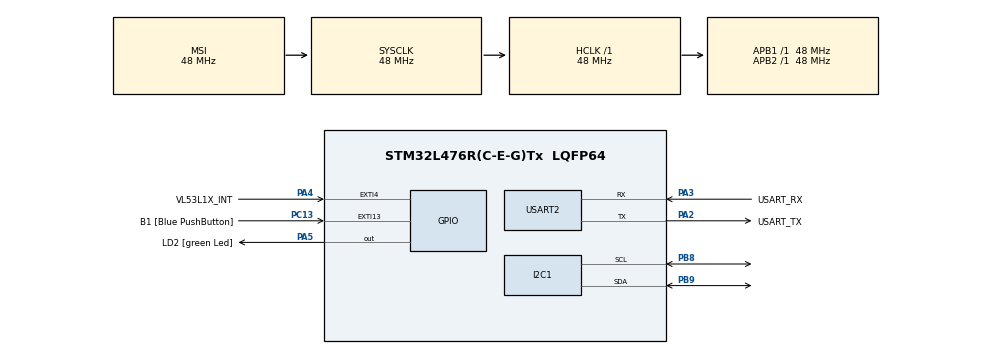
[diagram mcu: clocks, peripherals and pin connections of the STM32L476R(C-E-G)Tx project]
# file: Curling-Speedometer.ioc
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I2C1.Timing=0x20303E5D
Mcu.Family=STM32L4
Mcu.Name=STM32L476R(C-E-G)Tx
Mcu.Package=LQFP64
NVIC.EXTI4_IRQn=true\:0\:0\:false\:false\:true\:true
NVIC.PriorityGroup=NVIC_PRIORITYGROUP_4
PA13\ (JTMS-SWDIO).GPIO_Label=TMS
PA13\ (JTMS-SWDIO).Mode=Serial_Wire
PA13\ (JTMS-SWDIO).Signal=SYS_JTMS-SWDIO
PA14\ (JTCK-SWCLK).GPIO_Label=TCK
PA14\ (JTCK-SWCLK).Mode=Serial_Wire
PA14\ (JTCK-SWCLK).Signal=SYS_JTCK-SWCLK
PA2.GPIO_Label=USART_TX
PA2.GPIO_Mode=GPIO_MODE_AF_PP
PA2.GPIO_PuPd=GPIO_NOPULL
PA2.GPIO_Speed=GPIO_SPEED_FREQ_VERY_HIGH
PA2.Mode=Asynchronous
PA2.Signal=USART2_TX
PA3.GPIO_Label=USART_RX
PA3.GPIO_Mode=GPIO_MODE_AF_PP
PA3.GPIO_PuPd=GPIO_NOPULL
PA3.GPIO_Speed=GPIO_SPEED_FREQ_VERY_HIGH
PA3.Mode=Asynchronous
PA3.Signal=USART2_RX
PA4.GPIO_Label=VL53L1X_INT
PA4.GPIO_ModeDefaultEXTI=GPIO_MODE_IT_RISING_FALLING
PA4.GPIO_PuPd=GPIO_PULLUP
PA4.Signal=GPXTI4
PA5.GPIO_Label=LD2 [green Led]
PA5.GPIO_ModeDefaultOutputPP=GPIO_MODE_OUTPUT_PP
PA5.GPIO_PuPd=GPIO_NOPULL
PA5.GPIO_Speed=GPIO_SPEED_FREQ_LOW
PA5.Signal=GPIO_Output
PB3\ (JTDO-TRACESWO).GPIO_Label=SWO
PB3\ (JTDO-TRACESWO).Signal=SYS_JTDO-SWO
PB8.Mode=I2C
PB8.Signal=I2C1_SCL
PB9.Mode=I2C
PB9.Signal=I2C1_SDA
PC13.GPIO_Label=B1 [Blue PushButton]
PC13.GPIO_ModeDefaultEXTI=GPIO_MODE_IT_FALLING
PC13.GPIO_PuPd=GPIO_NOPULL
PC13.Signal=GPXTI13
PC14-OSC32_IN\ (PC14).Signal=RCC_OSC32_IN
PC15-OSC32_OUT\ (PC15).Signal=RCC_OSC32_OUT
PH0-OSC_IN\ (PH0).Mode=HSE-External-Clock-Source
PH0-OSC_IN\ (PH0).Signal=RCC_OSC_IN
PH1-OSC_OUT\ (PH1).Signal=RCC_OSC_OUT
ProjectManager.HeapSize=0x200
ProjectManager.StackSize=0x400
ProjectManager.TargetToolchain=SW4STM32
RCC.ADCFreq_Value=192000000
RCC.AHBFreq_Value=48000000
RCC.APB1Freq_Value=48000000
RCC.APB1TimFreq_Value=48000000
RCC.APB2Freq_Value=48000000
RCC.APB2TimFreq_Value=48000000
RCC.CortexFreq_Value=48000000
RCC.HCLKFreq_Value=48000000
RCC.HSE_VALUE=8000000
RCC.HSI_VALUE=16000000
RCC.I2C1CLockSelection=RCC_I2C1CLKSOURCE_SYSCLK
RCC.LSE_VALUE=48000
RCC.MSIClockRange=RCC_MSIRANGE_11
RCC.MSI_VALUE=48000000
RCC.PLLN=16
RCC.PREFETCH_ENABLE=1
RCC.PWR_Regulator_Voltage_Scale=PWR_REGULATOR_VOLTAGE_SCALE1
RCC.SYSCLKFreq_VALUE=48000000
RCC.USBFreq_Value=192000000
RCC.VCOOutputFreq_Value=768000000
USART2.VirtualMode-Asynchronous=VM_ASYNC
USART2.WordLength=WORDLENGTH_8B
board=NUCLEO-L476RG

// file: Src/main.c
/**
  ******************************************************************************
  * @file           : main.c
  * @brief          : Main program body
  ******************************************************************************
  ** This notice applies to any and all portions of this file
  * that are not between comment pairs USER CODE BEGIN and
  * USER CODE END. Other portions of this file, whether
  * inserted by the user or by software development tools
  * are owned by their respective copyright owners.
  *
  * COPYRIGHT(c) 2018 STMicroelectronics
  *
  * Redistribution and use in source and binary forms, with or without modification,
  * are permitted provided that the following conditions are met:
  *   1. Redistributions of source code must retain the above copyright notice,
  *      this list of conditions and the following disclaimer.
  *   2. Redistributions in binary form must reproduce the above copyright notice,
  *      this list of conditions and the following disclaimer in the documentation
  *      and/or other materials provided with the distribution.
  *   3. Neither the name of STMicroelectronics nor the names of its contributors
  *      may be used to endorse or promote products derived from this software
  *      without specific prior written permission.
  *
  * THIS SOFTWARE IS PROVIDED BY THE COPYRIGHT HOLDERS AND CONTRIBUTORS "AS IS"
  * AND ANY EXPRESS OR IMPLIED WARRANTIES, INCLUDING, BUT NOT LIMITED TO, THE
  * IMPLIED WARRANTIES OF MERCHANTABILITY AND FITNESS FOR A PARTICULAR PURPOSE ARE
  * DISCLAIMED. IN NO EVENT SHALL THE COPYRIGHT HOLDER OR CONTRIBUTORS BE LIABLE
  * FOR ANY DIRECT, INDIRECT, INCIDENTAL, SPECIAL, EXEMPLARY, OR CONSEQUENTIAL
  * DAMAGES (INCLUDING, BUT NOT LIMITED TO, PROCUREMENT OF SUBSTITUTE GOODS OR
  * SERVICES; LOSS OF USE, DATA, OR PROFITS; OR BUSINESS INTERRUPTION) HOWEVER
  * CAUSED AND ON ANY THEORY OF LIABILITY, WHETHER IN CONTRACT, STRICT LIABILITY,
  * OR TORT (INCLUDING NEGLIGENCE OR OTHERWISE) ARISING IN ANY WAY OUT OF THE USE
  * OF THIS SOFTWARE, EVEN IF ADVISED OF THE POSSIBILITY OF SUCH DAMAGE.
  *
  ******************************************************************************
  */
#include "main.h"
#include "stm32l4xx_hal.h"
#include "i2c.h"
#include "usart.h"
#include "gpio.h"

/* USER CODE BEGIN Includes */
#include "vl53l1_api.h"
#include "vl53l1_platform_init.h"
#include "X-NUCLEO-53L1A1.h"

/* USER CODE END Includes */

/* USER CODE BEGIN PV */
/* Private variables ---------------------------------------------------------*/
VL53L1_Dev_t                   dev;
VL53L1_DEV                     Dev = &dev;
int status;
volatile int IntCount;
#define isAutonomousExample 1  /* Allow to select either autonomous ranging or fast ranging example */
#define isInterrupt 0 /* If isInterrupt = 1 then device working in interrupt mode, else device working in polling mode */
asm (".global _printf_float");
/* USER CODE END PV */

void SystemClock_Config(void);

/* USER CODE BEGIN PFP */
/* Private function prototypes -----------------------------------------------*/
void AutonomousLowPowerRangingTest(void);
/* USER CODE END PFP */

/* USER CODE BEGIN 0 */
int _write(int file, char *ptr, int len)
{
    HAL_UART_Transmit(&huart2, (uint8_t*)ptr, len, 0xFFFF);
    return len;
}

void HAL_GPIO_EXTI_Callback(uint16_t GPIO_Pin)
{
		if (GPIO_Pin==VL53L1X_INT_Pin)
		{
			IntCount++;
		}
}

/* USER CODE END 0 */

int main(void)
{
  /* USER CODE BEGIN 1 */
  uint8_t byteData;
  uint16_t wordData;
  uint8_t ToFSensor = 1; // 0=Left, 1=Center(default), 2=Right

  /* USER CODE END 1 */

  /* MCU Configuration----------------------------------------------------------*/

  /* Reset of all peripherals, Initializes the Flash interface and the Systick. */
  HAL_Init();

  /* Configure the system clock */
  SystemClock_Config();

  /* Initialize all configured peripherals */
  MX_GPIO_Init();
  MX_I2C1_Init();
  /* USER CODE BEGIN 2 */
  XNUCLEO53L1A1_Init();
    MX_USART2_UART_Init();

  printf("VL53L1X Examples...\n");
  Dev->I2cHandle = &hi2c1;
  Dev->I2cDevAddr = 0x52;

  /* Allow to select the sensor to be used, multi-sensor is not managed in this example.
    Only when use use the Left ToF in interrupt mode,  solder the U7 on the X-Nucleo-53L1A1 board
    Only when use the Right ToF in interrupt mode, solder the U7 on the X-Nucleo-53L1A1 board
    See "Solder drop configurations" in the X-Nucleo-53L1A1 User Manual for more details */
  ToFSensor = 1; // Select ToFSensor: 0=Left, 1=Center, 2=Right
  status = XNUCLEO53L1A1_ResetId(ToFSensor, 0); // Reset ToF sensor
  HAL_Delay(2);
  status = XNUCLEO53L1A1_ResetId(ToFSensor, 1); // Reset ToF sensor
  HAL_Delay(2);

  VL53L1_RdByte(Dev, 0x010F, &byteData);
  printf("VL53L1X Model_ID: %02X\n\r", byteData);
  VL53L1_RdByte(Dev, 0x0110, &byteData);
  printf("VL53L1X Module_Type: %02X\n\r", byteData);
  VL53L1_RdWord(Dev, 0x010F, &wordData);
  printf("VL53L1X: %02X\n\r", wordData);
  AutonomousLowPowerRangingTest();

  /* USER CODE END 2 */

  /* Infinite loop */
  while (1)
  {

  }

}

void SystemClock_Config(void)
{

  RCC_OscInitTypeDef RCC_OscInitStruct;
  RCC_ClkInitTypeDef RCC_ClkInitStruct;
  RCC_PeriphCLKInitTypeDef PeriphClkInit;

    /**Initializes the CPU, AHB and APB busses clocks
    */
  RCC_OscInitStruct.OscillatorType = RCC_OSCILLATORTYPE_MSI;
  RCC_OscInitStruct.MSIState = RCC_MSI_ON;
  RCC_OscInitStruct.MSICalibrationValue = 0;
  RCC_OscInitStruct.MSIClockRange = RCC_MSIRANGE_11;
  RCC_OscInitStruct.PLL.PLLState = RCC_PLL_NONE;
  if (HAL_RCC_OscConfig(&RCC_OscInitStruct) != HAL_OK)
  {
    _Error_Handler(__FILE__, __LINE__);
  }

    /**Initializes the CPU, AHB and APB busses clocks
    */
  RCC_ClkInitStruct.ClockType = RCC_CLOCKTYPE_HCLK|RCC_CLOCKTYPE_SYSCLK
                              |RCC_CLOCKTYPE_PCLK1|RCC_CLOCKTYPE_PCLK2;
  RCC_ClkInitStruct.SYSCLKSource = RCC_SYSCLKSOURCE_MSI;
  RCC_ClkInitStruct.AHBCLKDivider = RCC_SYSCLK_DIV1;
  RCC_ClkInitStruct.APB1CLKDivider = RCC_HCLK_DIV1;
  RCC_ClkInitStruct.APB2CLKDivider = RCC_HCLK_DIV1;

  if (HAL_RCC_ClockConfig(&RCC_ClkInitStruct, FLASH_LATENCY_2) != HAL_OK)
  {
    _Error_Handler(__FILE__, __LINE__);
  }

  PeriphClkInit.PeriphClockSelection = RCC_PERIPHCLK_USART2|RCC_PERIPHCLK_I2C1;
  PeriphClkInit.Usart2ClockSelection = RCC_USART2CLKSOURCE_PCLK1;
  PeriphClkInit.I2c1ClockSelection = RCC_I2C1CLKSOURCE_SYSCLK;
  if (HAL_RCCEx_PeriphCLKConfig(&PeriphClkInit) != HAL_OK)
  {
    _Error_Handler(__FILE__, __LINE__);
  }

    /**Configure the main internal regulator output voltage
    */
  if (HAL_PWREx_ControlVoltageScaling(PWR_REGULATOR_VOLTAGE_SCALE1) != HAL_OK)
  {
    _Error_Handler(__FILE__, __LINE__);
  }

    /**Configure the Systick interrupt time
    */
  HAL_SYSTICK_Config(HAL_RCC_GetHCLKFreq()/1000);

    /**Configure the Systick
    */
  HAL_SYSTICK_CLKSourceConfig(SYSTICK_CLKSOURCE_HCLK);

  /* SysTick_IRQn interrupt configuration */
  HAL_NVIC_SetPriority(SysTick_IRQn, 0, 0);
}

/* USER CODE BEGIN 4 */

/* Autonomous ranging loop*/
void AutonomousLowPowerRangingTest(void)
{
  static VL53L1_RangingMeasurementData_t RangingData;
  printf("Autonomous Ranging Test\n");
//    status = VL53L1_software_reset(Dev);
    status = VL53L1_WaitDeviceBooted(Dev);
  status = VL53L1_DataInit(Dev);
  status = VL53L1_StaticInit(Dev);
  status = VL53L1_SetDistanceMode(Dev, VL53L1_DISTANCEMODE_LONG);
  status = VL53L1_SetMeasurementTimingBudgetMicroSeconds(Dev, 50000);
  status = VL53L1_SetInterMeasurementPeriodMilliSeconds(Dev, 500);
  status = VL53L1_StartMeasurement(Dev);

	if(status){
		printf("VL53L1_StartMeasurement failed \n");
		while(1);
	}
	if (isInterrupt){
		do // interrupt mode
		{
		 __WFI();
		 if(IntCount !=0 ){
				IntCount=0;
				status = VL53L1_GetRangingMeasurementData(Dev, &RangingData);
				if(status==0){
					printf("%d,%d,%.2f,%.2f\n", RangingData.RangeStatus,RangingData.RangeMilliMeter,
									RangingData.SignalRateRtnMegaCps/65536.0,RangingData.AmbientRateRtnMegaCps/65336.0);
				}
				status = VL53L1_ClearInterruptAndStartMeasurement(Dev);
			}
		}
		while(1);
	}
	else{
		do // polling mode
		{
		  status = VL53L1_WaitMeasurementDataReady(Dev);
			if(!status)
			{
				status = VL53L1_GetRangingMeasurementData(Dev, &RangingData);
				if(status==0){
					printf("%d,%d,%.2f,%.2f\n", RangingData.RangeStatus,RangingData.RangeMilliMeter,
									(RangingData.SignalRateRtnMegaCps/65536.0),RangingData.AmbientRateRtnMegaCps/65336.0);
				}
				status = VL53L1_ClearInterruptAndStartMeasurement(Dev);
			}
		}
		while (1);
	}
//  return status;
}

/* USER CODE END 4 */

void _Error_Handler(char *file, int line)
{
  while(1)
  {
  }
}

/************************ (C) COPYRIGHT STMicroelectronics *****END OF FILE****/
